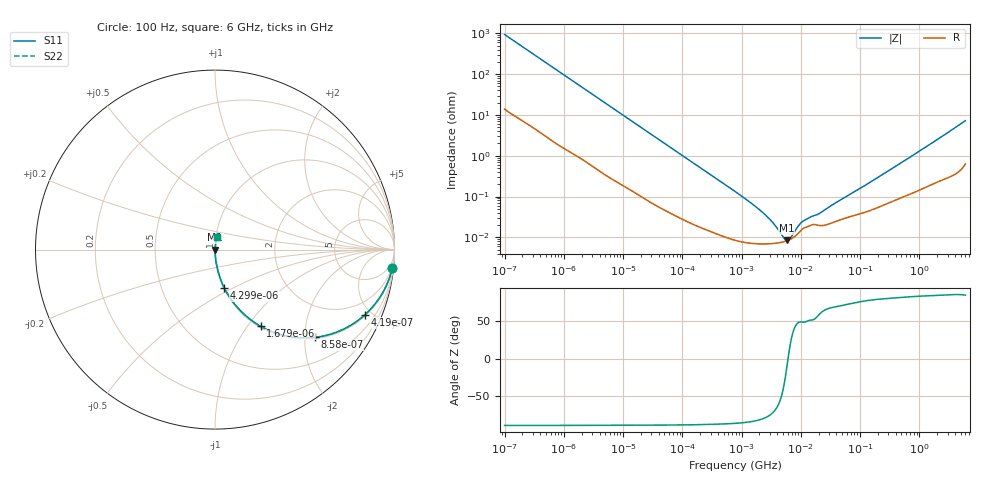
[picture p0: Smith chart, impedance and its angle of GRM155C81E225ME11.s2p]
!Murata Part Number: GRM155C81E225ME11
!These Parameters are Measured in Series Mode Connection
!Data Generated on Mar 30, 2021
!  o--ll--o
!Port1  Port2
!  o------o
!Operation Temp=25[degC], DC Bias Voltage=0[V]
!Freq. Start=100[Hz] Stop=6[GHz] 401[Steps]
# Hz S RI R 50
!Freq.(Hz) S11(Real) S11(Imag) S21(Real) S21(Imag) S12(Real) S12(Imag) S22(Real) S22(Imag)
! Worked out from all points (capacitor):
!   401 points, 100 Hz to 6 GHz, reference 50 ohm
!   read as one part in series: C = 1.68 uF near 109 Hz
!   lowest |Z| = 8.37 mohm at 5.809 MHz (marker M1)
!   series resonance near 6.081 MHz, so ESL is about 410 pH
!   S11 on the Smith chart (normalised r, x): 100 Hz: 1, -19; 419 Hz: 1.07, -4.57; 858 Hz: 1.03, -2.24; 1.679 kHz: 1.02, -1.15; 4.299 kHz: 1.01, -0.46; 6 GHz: 1.01, +0.14
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100  0.9874 -0.1044  0.0126 0.1044  0.0126 0.1044  0.9874 -0.1044
224  0.9444 -0.2216  0.0556 0.2216  0.0556 0.2216  0.9444 -0.2216
419  0.8352 -0.3633  0.1648 0.3633  0.1648 0.3633  0.8352 -0.3633
858  0.5567 -0.4891  0.4433 0.4891  0.4433 0.4891  0.5567 -0.4891
1174  0.4053 -0.483  0.5947 0.483  0.5947 0.483  0.4053 -0.483
1679  0.2536 -0.4268  0.7464 0.4268  0.7464 0.4268  0.2536 -0.4268
2008  0.1937 -0.3868  0.8063 0.3868  0.8063 0.3868  0.1937 -0.3868
4299  0.0527 -0.215  0.9473 0.215  0.9473 0.215  0.0527 -0.215
11009  0.00967 -0.0888  0.9903 0.0888  0.9903 0.0888  0.00967 -0.0888
40335  0.00117 -0.0249  0.9988 0.0249  0.9988 0.0249  0.00117 -0.0249
774597  8.61e-05 -0.00133  0.9999 0.00133  0.9999 0.00133  8.61e-05 -0.00133
2268635  6.89e-05 -0.000401  0.9999 0.000401  0.9999 0.000401  6.89e-05 -0.000401
3394479  7.04e-05 -0.000215  0.9999 0.000215  0.9999 0.000215  7.04e-05 -0.000215
4856642  7.61e-05 -7.95e-05  0.9999 7.95e-05  0.9999 7.95e-05  7.61e-05 -7.95e-05
5809218  8.21e-05 -1.6e-05  0.9999 1.6e-05  0.9999 1.6e-05  8.21e-05 -1.6e-05
6948629  9.22e-05 4.73e-05  0.9999 -4.73e-05  0.9999 -4.73e-05  9.22e-05 4.73e-05
1.039699e7  0.000155 0.000178  0.9998 -0.000178  0.9998 -0.000178  0.000155 0.000178
1.555665e7  0.000203 0.000259  0.9998 -0.000259  0.9998 -0.000259  0.000203 0.000259
2.128304e7  0.000194 0.000345  0.9998 -0.000345  0.9998 -0.000345  0.000194 0.000345
3.124326e8  0.000726 0.00436  0.9993 -0.00436  0.9993 -0.00436  0.000726 0.00436
1.873145e9  0.00269 0.0231  0.9973 -0.0231  0.9973 -0.0231  0.00269 0.0231
6e9  0.0114 0.0712  0.9886 -0.0712  0.9886 -0.0712  0.0114 0.0712
